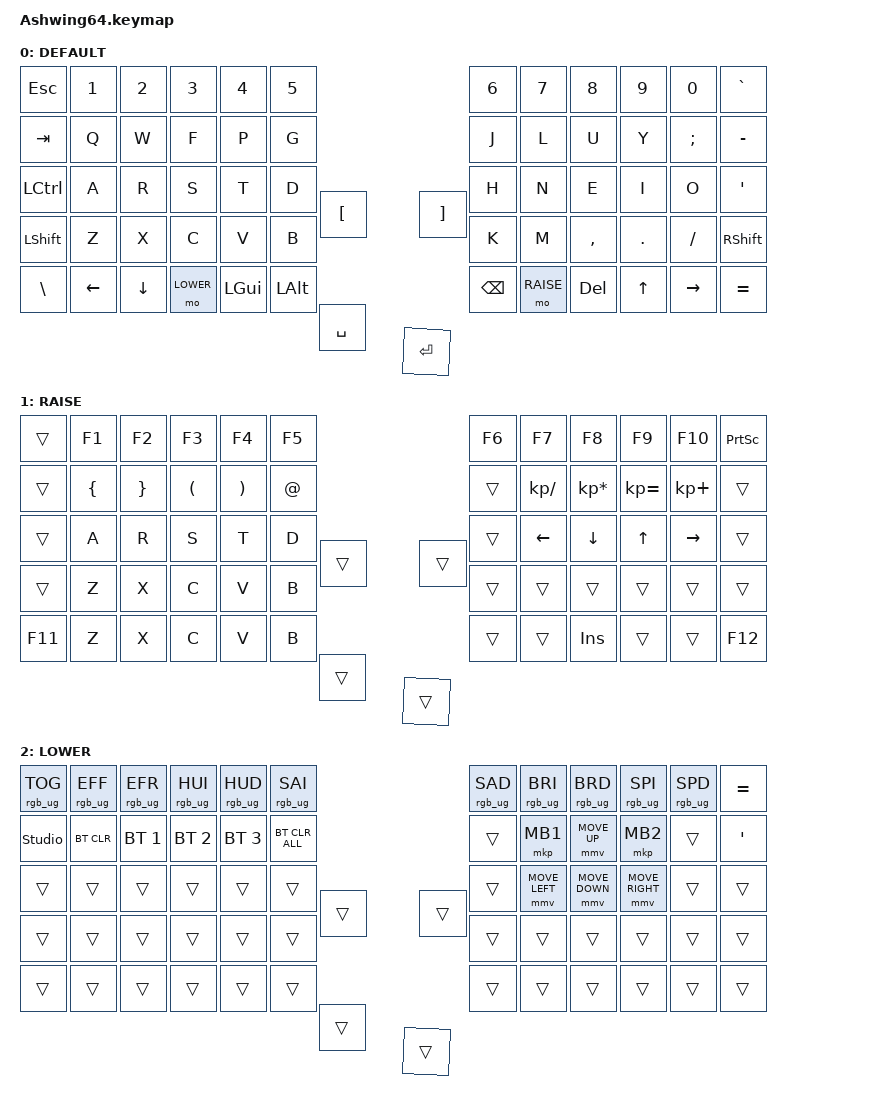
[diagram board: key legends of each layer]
#include <behaviors.dtsi>
#include <dt-bindings/zmk/keys.h>
#include <dt-bindings/zmk/bt.h>
#include <dt-bindings/zmk/rgb.h>
#include <dt-bindings/zmk/ext_power.h>
#define ZMK_POINTING_DEFAULT_MOVE_VAL 800  // default: 600
#define ZMK_POINTING_DEFAULT_SCRL_VAL 20    // default: 10
#include <dt-bindings/zmk/pointing.h>
#define DEFAULT 0
#define RAISE 1
#define LOWER 2
&led_strip {
    chain-length = <5>;
};

/ {
    keymap {
        compatible = "zmk,keymap";

        DEFAULT {
            bindings = <
                &kp ESC	&kp N1	&kp N2	&kp N3	&kp N4	&kp N5				&kp N6  &kp N7	&kp N8	&kp N9	&kp N0  
		&kp TAB &kp Q  &kp W  &kp F  &kp P  &kp G				&kp J  &kp L  &kp U  &kp Y  &kp SEMICOLON            
		&kp LCTRL &kp A  &kp R  &kp S  &kp T  &kp D                       	&kp H  &kp N  &kp E  &kp I  &kp O
		&kp LSHFT &kp Z  &kp X  &kp C  &kp V  &kp B                       	&kp K  &kp M  &kp COMMA  &kp DOT  &kp SLASH
                &kp BACKSLASH &kp LEFT  &kp DOWN  &mo LOWER  &kp LGUI  &kp LALT	&kp BSPC  &mo RAISE  &kp DEL  &kp UP  &kp RIGHT
                &kp LBKT &kp SPACE &kp ENTER &kp RBKT  &kp GRAVE  &kp MINUS  &kp SQT  &kp RSHFT  &kp EQUAL
>;
        };
	RAISE {
		bindings = <
                &trans &kp F1  &kp F2  &kp F3  &kp F4  &kp F5                  &kp F6  &kp F7  &kp F8  &kp F9  &kp F10
                &trans &kp LBRC  &kp RBRC  &kp LPAR  &kp RPAR  &kp AT          &trans  &kp KP_SLASH  &kp KP_ASTERISK  &kp KP_EQUAL  &kp KP_PLUS
                &trans &kp A  &kp R  &kp S  &kp T  &kp D                       &trans  &kp LEFT  &kp DOWN  &kp UP  &kp RIGHT
                &trans &kp Z  &kp X  &kp C  &kp V  &kp B                       &trans  &trans  &trans  &trans  &trans
                &kp F11 &kp Z  &kp X  &kp C  &kp V  &kp B                      &trans  &trans  &kp INS  &trans  &trans
                &trans &trans  &trans  &trans  &kp PSCRN  &trans               &trans  &trans  &kp F12
            >;
        };
	LOWER {
                bindings = <
                &rgb_ug RGB_TOG &rgb_ug RGB_EFF &rgb_ug RGB_EFR  &rgb_ug RGB_HUI  &rgb_ug RGB_HUD  &rgb_ug RGB_SAI  &rgb_ug RGB_SAD  &rgb_ug RGB_BRI  &rgb_ug RGB_BRD  &rgb_ug RGB_SPI  &rgb_ug RGB_SPD
                &studio_unlock &bt BT_CLR &bt BT_SEL 1  &bt BT_SEL 2  &bt BT_SEL 3  &bt BT_CLR_ALL                       &trans  &mkp MB1  &mmv MOVE_UP  &mkp MB2  &trans
                &trans &trans  &trans  &trans  &trans  &trans                      &trans  &mmv MOVE_LEFT  &mmv MOVE_DOWN  &mmv MOVE_RIGHT  &trans
                &trans &trans  &trans  &trans  &trans  &trans                      &trans  &trans  &trans  &trans  &trans
                &trans &trans  &trans  &trans  &trans  &trans                      &trans  &trans  &trans  &trans  &trans
                &trans &trans  &trans  &trans  &kp EQUAL  &kp APOS                 &trans  &trans  &trans
            >;
        };
    };
 };
